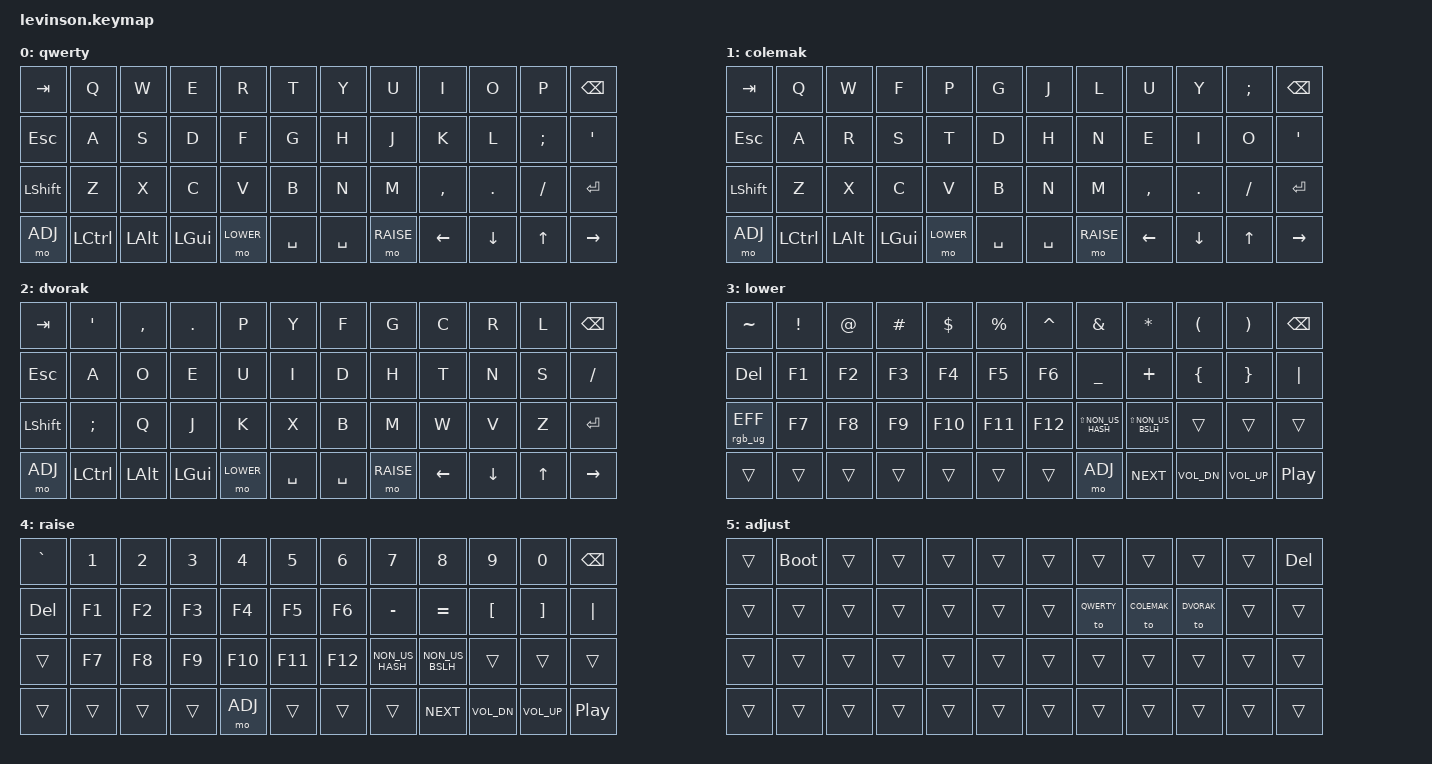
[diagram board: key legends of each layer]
/*
 * Copyright (c) 2021 The ZMK Contributors
 *
 * SPDX-License-Identifier: MIT
 */

#include <behaviors.dtsi>
#include <dt-bindings/zmk/outputs.h>
#include <dt-bindings/zmk/rgb.h>
#include <dt-bindings/zmk/keys.h>
#include <dt-bindings/zmk/bt.h>

//Layer definitions
#define QWERTY 0
#define COLEMAK 1
#define DVORAK 2
#define LOWER 3
#define RAISE 4
#define ADJ 5

/ {
    keymap {
        compatible = "zmk,keymap";

        qwerty {
// -------------------------------------   -------------------------------------
// | TAB |  Q  |  W  |  E  |  R  |  T  |   |  Y  |  U  |  I  |  O  |  P  | BSPC|
// | ESC |  A  |  S  |  D  |  F  |  G  |   |  H  |  J  |  K  |  L  |  ;  |  '  |
// |LSHFT|  Z  |  X  |  C  |  V  |  B  |   |  N  |  M  |  ,  |  .  |  /  |ENTER|
// | ADJ |LCTRL| LALT| LGUI|LOWER|SPACE|   |SPACE|RAISE| LEFT| DOWN|  UP |RIGHT|
// -------------------------------------   -------------------------------------
            bindings = <
    &kp TAB     &kp Q       &kp W       &kp E       &kp R       &kp T       &kp Y       &kp U       &kp I       &kp O       &kp P       &kp BSPC  
    &kp ESC     &kp A       &kp S       &kp D       &kp F       &kp G       &kp H       &kp J       &kp K       &kp L       &kp SEMI    &kp SQT   
    &kp LSHFT   &kp Z       &kp X       &kp C       &kp V       &kp B       &kp N       &kp M       &kp COMMA   &kp DOT     &kp FSLH    &kp ENTER 
    &mo ADJ     &kp LCTRL   &kp LALT    &kp LGUI    &mo LOWER   &kp SPACE   &kp SPACE   &mo RAISE   &kp LEFT    &kp DOWN    &kp UP      &kp RIGHT
            >;
        };

        colemak {
// -------------------------------------   -------------------------------------
// | TAB |  Q  |  W  |  F  |  P  |  G  |   |  J  |  L  |  U  |  Y  |  ;  | BSPC|
// | ESC |  A  |  R  |  S  |  T  |  D  |   |  H  |  N  |  E  |  I  |  O  |  '  |
// |LSHFT|  Z  |  X  |  C  |  V  |  B  |   |  K  |  M  |  ,  |  .  |  /  |ENTER|
// | ADJ |LCTRL| LALT| LGUI|LOWER|SPACE|   |SPACE|RAISE| LEFT| DOWN|  UP |RIGHT|
// -------------------------------------   -------------------------------------
            bindings = <
    &kp TAB     &kp Q       &kp W       &kp F       &kp P       &kp G       &kp J       &kp L       &kp U       &kp Y       &kp SEMI    &kp BSPC  
    &kp ESC     &kp A       &kp R       &kp S       &kp T       &kp D       &kp H       &kp N       &kp E       &kp I       &kp O       &kp SQT   
    &kp LSHFT   &kp Z       &kp X       &kp C       &kp V       &kp B       &kp N       &kp M       &kp COMMA   &kp DOT     &kp FSLH    &kp ENTER
    &mo ADJ     &kp LCTRL   &kp LALT    &kp LGUI    &mo LOWER   &kp SPACE   &kp SPACE   &mo RAISE   &kp LEFT    &kp DOWN    &kp UP      &kp RIGHT
            >;
        };

        dvorak {
// -------------------------------------   -------------------------------------
// | TAB |  '  |  ,  |  .  |  P  |  Y  |   |  F  |  G  |  C  |  R  |  L  | BSPC|
// | ESC |  A  |  O  |  E  |  U  |  I  |   |  D  |  H  |  T  |  N  |  S  |  /  |
// |LSHFT|  ;  |  Q  |  J  |  K  |  X  |   |  B  |  M  |  W  |  V  |  Z  |ENTER|
// | ADJ |LCTRL| LALT| LGUI|LOWER|SPACE|   |SPACE|RAISE| LEFT| DOWN|  UP |RIGHT|
// -------------------------------------   -------------------------------------
            bindings = <
    &kp TAB     &kp SQT     &kp COMMA   &kp DOT     &kp P       &kp Y       &kp F       &kp G       &kp C       &kp R       &kp L       &kp BSPC  
    &kp ESC     &kp A       &kp O       &kp E       &kp U       &kp I       &kp D       &kp H       &kp T       &kp N       &kp S       &kp FSLH   
    &kp LSHFT   &kp SEMI    &kp Q       &kp J       &kp K       &kp X       &kp B       &kp M       &kp W       &kp V       &kp Z       &kp ENTER
    &mo ADJ     &kp LCTRL   &kp LALT    &kp LGUI    &mo LOWER   &kp SPACE   &kp SPACE   &mo RAISE   &kp LEFT    &kp DOWN    &kp UP      &kp RIGHT
            >;
        };

        lower {
// -------------------------------------   -------------------------------------
// |  ~  |  !  |  @  |  #  |  $  |  %  |   |  ^  |  &  |  *  |  (  |  )  | BSPC|
// | DEL |  F1 |  F2 |  F3 |  F4 |  F5 |   |  F6 |  _  |  +  |  {  |  }  |  |  |
// |  BL |  F7 |  F8 |  F9 | F10 | F11 |   | F12 |LS(#)|LS(\)|     |     |     |
// |     |     |     |     |     |     |   |     | ADJ | NEXT| Vol-| Vol+| PLAY|
// -------------------------------------   -------------------------------------
            bindings = <
    &kp TILDE       &kp EXCL    &kp AT      &kp HASH    &kp DOLLAR  &kp PERCENT &kp CARET   &kp AMPS            &kp STAR            &kp LPAR        &kp RPAR        &kp BSPC  
    &kp DEL         &kp F1      &kp F2      &kp F3      &kp F4      &kp F5      &kp F6      &kp UNDER           &kp PLUS            &kp LBRC        &kp RBRC        &kp PIPE   
    &rgb_ug RGB_EFF &kp F7      &kp F8      &kp F9      &kp F10     &kp F11     &kp F12     &kp LS(NON_US_HASH) &kp LS(NON_US_BSLH) &trans          &trans          &trans
    &trans          &trans      &trans      &trans      &trans      &trans      &trans      &mo ADJ             &kp C_NEXT          &kp C_VOL_DN    &kp C_VOL_UP    &kp C_PLAY_PAUSE
            >;
        };

        raise {
// -------------------------------------   -------------------------------------
// |  `  |  1  |  2  |  3  |  4  |  5  |   |  6  |  7  |  8  |  9  |  0  | BSPC|
// | DEL |  F1 |  F2 |  F3 |  F4 |  F5 |   |  F6 |  -  |  =  |  [  |  ]  |  |  |
// |     |  F7 |  F8 |  F9 | F10 | F11 |   | F12 |  #~ |  \| |     |     |     |
// |     |     |     |     | ADJ |     |   |     |     | NEXT| Vol-| Vol+| PLAY|
// -------------------------------------   -------------------------------------
            bindings = <
    &kp GRAVE   &kp N1      &kp N2      &kp N3      &kp N4      &kp N5      &kp N6      &kp N7          &kp N8          &kp N9          &kp N0          &kp BSPC  
    &kp DEL     &kp F1      &kp F2      &kp F3      &kp F4      &kp F5      &kp F6      &kp MINUS       &kp EQUAL       &kp LBKT        &kp RBKT        &kp PIPE   
    &trans      &kp F7      &kp F8      &kp F9      &kp F10     &kp F11     &kp F12     &kp NON_US_HASH &kp NON_US_BSLH &trans          &trans          &trans
    &trans      &trans      &trans      &trans      &mo ADJ     &trans      &trans      &trans          &kp C_NEXT      &kp C_VOL_DN    &kp C_VOL_UP    &kp C_PLAY_PAUSE
            >;
        };

       adjust {
// -------------------------------------   -------------------------------------
// |     |RESET|     |     |     |     |   |     |     |     |     |     | DEL |
// |     |     |     |     |     |     |   |     |QWERT|COLEM|DVORA|     |     |
// |     |     |     |     |     |     |   |     |     |     |     |     |     |
// |     |     |     |     |     |     |   |     |     |     |     |     |     |
// -------------------------------------   -------------------------------------
            bindings = <
    &trans  &bootloader &trans  &trans  &trans  &trans  &trans  &trans      &trans      &trans      &trans  &kp DEL
    &trans  &trans      &trans  &trans  &trans  &trans  &trans  &to QWERTY  &to COLEMAK &to DVORAK  &trans  &trans
    &trans  &trans      &trans  &trans  &trans  &trans  &trans  &trans      &trans      &trans      &trans  &trans
    &trans  &trans      &trans  &trans  &trans  &trans  &trans  &trans      &trans      &trans      &trans  &trans
            >;
        }; 
    };
};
